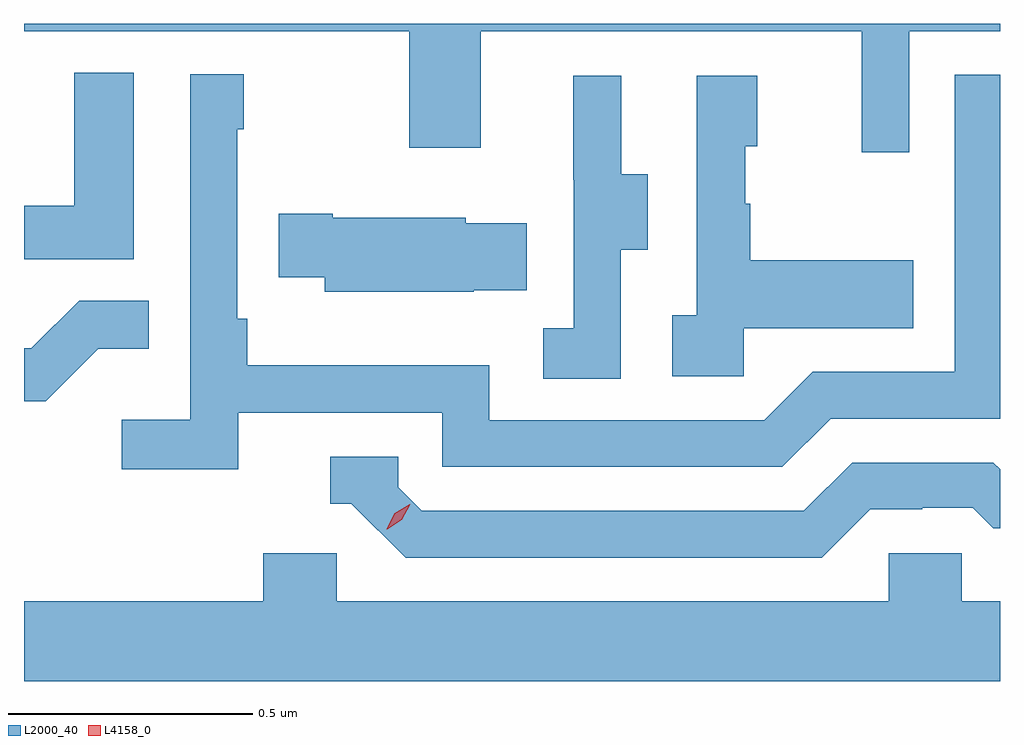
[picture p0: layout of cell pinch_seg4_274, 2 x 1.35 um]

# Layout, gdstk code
import gdstk
lib = gdstk.Library(unit=1e-6, precision=1e-09)
def P(c, l, *ps):  # polygons
    for p in ps: c.add(gdstk.Polygon(p, *l))
L2000_40 = (2000, 40)
L4158_0 = (4158, 0)

pinch_seg4_274 = lib.new_cell('pinch_seg4_274')
P(pinch_seg4_274, L2000_40, [(946.293,832.784),(946.479,832.784),(946.479,832.799),(944.479,832.799),(944.479,832.784),(945.268,832.784),(945.268,832.545),(945.415,832.545),(945.415,832.784),(946.196,832.784),(946.196,832.536),(946.293,832.536)],
  [(944.704,832.699),(944.582,832.699),(944.582,832.426),(944.479,832.426),(944.479,832.317),(944.704,832.317)],
  [(944.918,832.002),(945.336,832.002),(945.336,831.891),(946.033,831.891),(946.132,831.99),(946.479,831.99),(946.479,832.695),(946.386,832.695),(946.386,832.086),(946.095,832.086),(945.996,831.987),(945.432,831.987),(945.432,832.099),(944.936,832.099),(944.936,832.195),(944.916,832.195),(944.916,832.583),(944.929,832.583),(944.929,832.696),(944.82,832.696),(944.82,831.988),(944.679,831.988),(944.679,831.886),(944.918,831.886)],
  [(945.702,832.336),(945.757,832.336),(945.757,832.491),(945.703,832.491),(945.703,832.693),(945.605,832.693),(945.605,832.479),(945.606,832.479),(945.606,832.175),(945.543,832.175),(945.543,832.072),(945.702,832.072)],
  [(945.954,832.175),(946.301,832.175),(946.301,832.315),(945.967,832.315),(945.967,832.43),(945.957,832.43),(945.957,832.548),(945.982,832.548),(945.982,832.693),(945.858,832.693),(945.858,832.202),(945.807,832.202),(945.807,832.077),(945.954,832.077)],
  [(945.401,832.253),(945.509,832.253),(945.509,832.39),(945.384,832.39),(945.384,832.402),(945.112,832.402),(945.112,832.41),(945.001,832.41),(945.001,832.28),(945.095,832.28),(945.095,832.25),(945.401,832.25)],
  [(944.631,832.133),(944.735,832.133),(944.735,832.232),(944.592,832.232),(944.494,832.134),(944.479,832.134),(944.479,832.026),(944.524,832.026)],
  [(946.213,831.804),(946.32,831.804),(946.32,831.807),(946.423,831.807),(946.465,831.765),(946.479,831.765),(946.479,831.886),(946.465,831.9),(946.176,831.9),(946.077,831.801),(945.294,831.801),(945.246,831.849),(945.246,831.912),(945.107,831.912),(945.107,831.816),(945.15,831.816),(945.261,831.705),(946.114,831.705)],
  [(946.479,831.616),(946.401,831.616),(946.401,831.714),(946.251,831.714),(946.251,831.616),(945.12,831.616),(945.12,831.714),(944.969,831.714),(944.969,831.616),(944.479,831.616),(944.479,831.452),(946.479,831.452)])
P(pinch_seg4_274, L4158_0, [(945.222,831.763),(945.222,831.764),(945.239,831.796),(945.269,831.815),(945.27,831.815),(945.27,831.815),(945.253,831.783),(945.223,831.763)])

lib.write_gds('pinch_seg4_274.gds')
